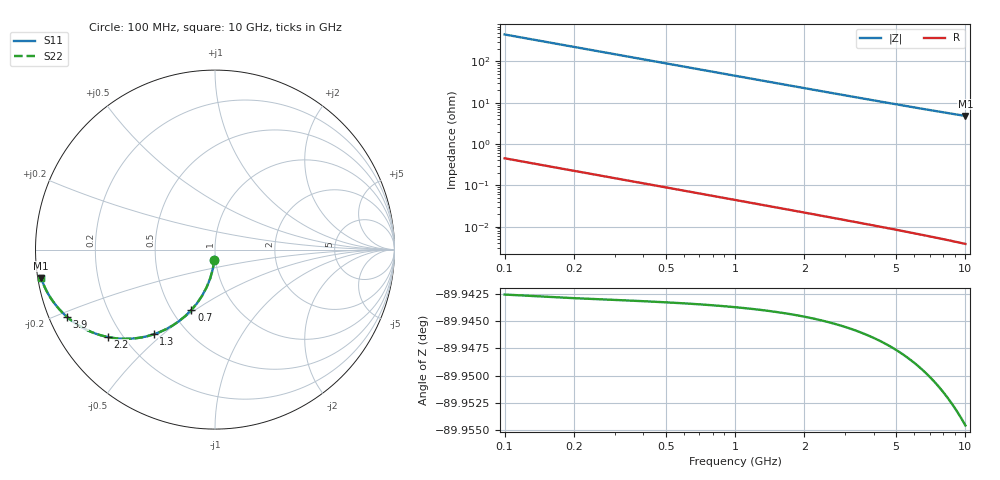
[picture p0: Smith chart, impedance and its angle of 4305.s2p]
# Hz S RI R 50.00
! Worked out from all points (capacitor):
!   100 points, 100 MHz to 10 GHz, reference 50 ohm
!   read as one part in shunt: C = 3.53 pF near 100 MHz
!   lowest |Z| = 4.8 ohm at 10 GHz (marker M1)
!   S11 on the Smith chart (normalised r, x): 100 MHz: 0.99, -0.11; 700 MHz: 0.62, -0.48; 1.3 GHz: 0.33, -0.47; 2.2 GHz: 0.15, -0.35; 3.9 GHz: 0.05, -0.22; 10 GHz: 0.01, -0.08
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1e8  -0.00309 -0.0552  0.9968 -0.0555  0.9968 -0.0555  -0.00309 -0.0552
2e8  -0.0122 -0.1094  0.9877 -0.1099  0.9877 -0.1099  -0.0122 -0.1094
3e8  -0.0271 -0.1616  0.9728 -0.1624  0.9728 -0.1624  -0.0271 -0.1616
4e8  -0.0471 -0.211  0.9528 -0.212  0.9528 -0.212  -0.0471 -0.211
5e8  -0.0717 -0.2569  0.9282 -0.2582  0.9282 -0.2582  -0.0717 -0.2569
6e8  -0.1 -0.2988  0.8999 -0.3003  0.8999 -0.3003  -0.1 -0.2988
7e8  -0.1313 -0.3364  0.8686 -0.3382  0.8686 -0.3382  -0.1313 -0.3364
8e8  -0.1648 -0.3695  0.8351 -0.3716  0.8351 -0.3716  -0.1648 -0.3695
1e9  -0.2356 -0.4226  0.7644 -0.4252  0.7644 -0.4252  -0.2356 -0.4226
1.3e9  -0.3422 -0.4723  0.6577 -0.4757  0.6577 -0.4757  -0.3422 -0.4723
1.5e9  -0.4091 -0.4892  0.5908 -0.4931  0.5908 -0.4931  -0.4091 -0.4892
1.8e9  -0.499 -0.4971  0.5009 -0.5019  0.5009 -0.5019  -0.499 -0.4971
2.2e9  -0.5979 -0.4869  0.402 -0.4927  0.402 -0.4927  -0.5979 -0.4869
2.5e9  -0.6574 -0.4707  0.3425 -0.4774  0.3425 -0.4774  -0.6574 -0.4707
2.8e9  -0.7064 -0.4512  0.2935 -0.4586  0.2935 -0.4586  -0.7064 -0.4512
3.4e9  -0.78 -0.4092  0.2199 -0.4182  0.2199 -0.4182  -0.78 -0.4092
3.9e9  -0.8234 -0.3755  0.1764 -0.3859  0.1764 -0.3859  -0.8234 -0.3755
4.5e9  -0.8613 -0.339  0.1386 -0.3511  0.1386 -0.3511  -0.8613 -0.339
5.1e9  -0.8886 -0.3071  0.1112 -0.3209  0.1112 -0.3209  -0.8886 -0.3071
6.7e9  -0.9324 -0.2411  0.0673 -0.2594  0.0673 -0.2594  -0.9324 -0.2411
8.4e9  -0.9562 -0.1922  0.0435 -0.2154  0.0435 -0.2154  -0.9562 -0.1922
1e10  -0.9689 -0.1585  0.0307 -0.1865  0.0307 -0.1865  -0.9689 -0.1585
